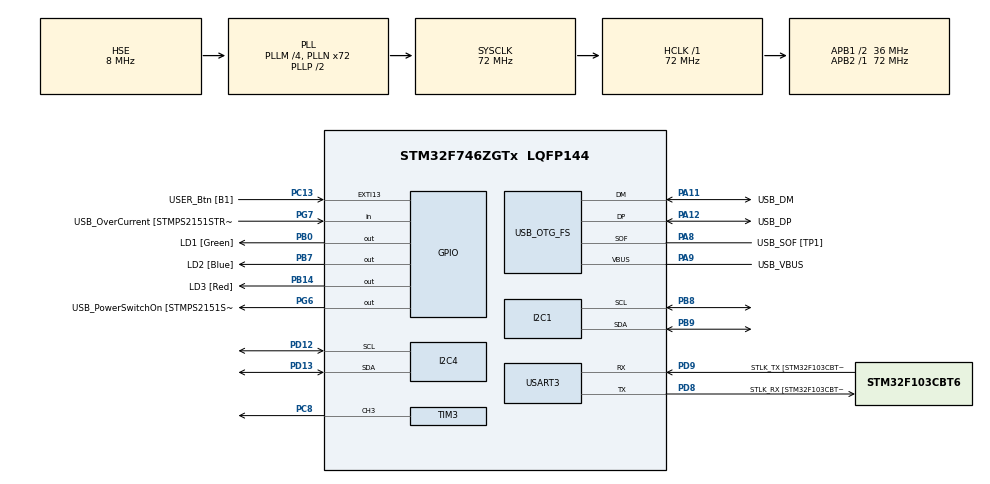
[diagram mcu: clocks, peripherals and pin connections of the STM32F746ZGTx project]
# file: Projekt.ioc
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I2C1.Timing=0x00808CD2
I2C4.Timing=0x00808CD2
Mcu.Family=STM32F7
Mcu.Name=STM32F746ZGTx
Mcu.Package=LQFP144
NVIC.PriorityGroup=NVIC_PRIORITYGROUP_4
PA1.GPIO_Label=RMII_REF_CLK [LAN8742A-CZ-TR_REFCLK0]
PA1.Signal=ETH_REF_CLK
PA10.GPIO_Label=USB_ID
PA10.Signal=USB_OTG_FS_ID
PA11.GPIO_Label=USB_DM
PA11.Mode=Device_Only
PA11.Signal=USB_OTG_FS_DM
PA12.GPIO_Label=USB_DP
PA12.Mode=Device_Only
PA12.Signal=USB_OTG_FS_DP
PA13.GPIO_Label=TMS
PA13.Mode=Serial_Wire
PA13.Signal=SYS_JTMS-SWDIO
PA14.GPIO_Label=TCK
PA14.Mode=Serial_Wire
PA14.Signal=SYS_JTCK-SWCLK
PA2.GPIO_Label=RMII_MDIO [LAN8742A-CZ-TR_MDIO]
PA2.Signal=ETH_MDIO
PA7.GPIO_Label=RMII_CRS_DV [LAN8742A-CZ-TR_CRS_DV]
PA7.Signal=ETH_CRS_DV
PA8.GPIO_Label=USB_SOF [TP1]
PA8.Mode=Activate_SOF_FS
PA8.Signal=USB_OTG_FS_SOF
PA9.GPIO_Label=USB_VBUS
PA9.Mode=Activate_VBUS
PA9.Signal=USB_OTG_FS_VBUS
PB0.GPIO_Label=LD1 [Green]
PB0.Signal=GPIO_Output
PB13.GPIO_Label=RMII_TXD1 [LAN8742A-CZ-TR_TXD1]
PB13.Signal=ETH_TXD1
PB14.GPIO_Label=LD3 [Red]
PB14.Signal=GPIO_Output
PB3.GPIO_Label=SW0
PB3.Signal=SYS_JTDO-SWO
PB7.GPIO_Label=LD2 [Blue]
PB7.Signal=GPIO_Output
PB8.Mode=I2C
PB8.Signal=I2C1_SCL
PB9.Mode=I2C
PB9.Signal=I2C1_SDA
PC1.GPIO_Label=RMII_MDC [LAN8742A-CZ-TR_MDC]
PC1.Signal=ETH_MDC
PC13.GPIO_Label=USER_Btn [B1]
PC13.Signal=GPXTI13
PC14/OSC32_IN.Mode=LSE-External-Oscillator
PC14/OSC32_IN.Signal=RCC_OSC32_IN
PC15/OSC32_OUT.Mode=LSE-External-Oscillator
PC15/OSC32_OUT.Signal=RCC_OSC32_OUT
PC4.GPIO_Label=RMII_RXD0 [LAN8742A-CZ-TR_RXD0]
PC4.Signal=ETH_RXD0
PC5.GPIO_Label=RMII_RXD1 [LAN8742A-CZ-TR_RXD1]
PC5.Signal=ETH_RXD1
PC8.Signal=S_TIM3_CH3
PD12.Mode=I2C
PD12.Signal=I2C4_SCL
PD13.Mode=I2C
PD13.Signal=I2C4_SDA
PD8.GPIO_Label=STLK_RX [STM32F103CBT6_PA3]
PD8.GPIO_PuPd=GPIO_PULLUP
PD8.Mode=Asynchronous
PD8.Signal=USART3_TX
PD9.GPIO_Label=STLK_TX [STM32F103CBT6_PA2]
PD9.GPIO_PuPd=GPIO_PULLUP
PD9.Mode=Asynchronous
PD9.Signal=USART3_RX
PG11.GPIO_Label=RMII_TX_EN [LAN8742A-CZ-TR_TXEN]
PG11.Signal=ETH_TX_EN
PG13.GPIO_Label=RMII_TXD0 [LAN8742A-CZ-TR_TXD0]
PG13.Signal=ETH_TXD0
PG6.GPIO_Label=USB_PowerSwitchOn [STMPS2151STR_EN]
PG6.Signal=GPIO_Output
PG7.GPIO_Label=USB_OverCurrent [STMPS2151STR_FAULT]
PG7.Signal=GPIO_Input
PH0/OSC_IN.GPIO_Label=MCO [STM32F103CBT6_PA8]
PH0/OSC_IN.Mode=HSE-External-Clock-Source
PH0/OSC_IN.Signal=RCC_OSC_IN
PH1/OSC_OUT.Mode=HSE-External-Clock-Source
PH1/OSC_OUT.Signal=RCC_OSC_OUT
ProjectManager.HeapSize=0x200
ProjectManager.StackSize=0x400
ProjectManager.TargetToolchain=STM32CubeIDE
RCC.48MHZClocksFreq_Value=24000000
RCC.AHBFreq_Value=72000000
RCC.APB1CLKDivider=RCC_HCLK_DIV2
RCC.APB1Freq_Value=36000000
RCC.APB1TimFreq_Value=72000000
RCC.APB2Freq_Value=72000000
RCC.APB2TimFreq_Value=72000000
RCC.CortexFreq_Value=72000000
RCC.HCLKFreq_Value=72000000
RCC.HSE_VALUE=8000000
RCC.HSI_VALUE=16000000
RCC.PLLM=4
RCC.PLLMUL=RCC_PLL_MUL9
RCC.PLLN=72
RCC.PLLQ=3
RCC.PRESCALERUSB=RCC_USBCLKSOURCE_PLL_DIV1_5
RCC.SYSCLKFreq_VALUE=72000000
RCC.SYSCLKSource=RCC_SYSCLKSOURCE_PLLCLK
RCC.SYSCLKSourceVirtual=RCC_SYSCLKSOURCE_PLLCLK
RCC.USBFreq_Value=48000000
RCC.VCOOutputFreq_Value=144000000
SH.S_TIM3_CH3.0=TIM3_CH3,PWM Generation3 CH3
TIM3.Channel-PWM\ Generation3\ CH3=TIM_CHANNEL_3
TIM3.Period=999
TIM3.Prescaler=71
USART3.VirtualMode-Asynchronous=VM_ASYNC
USB_OTG_FS.VirtualMode=Device_Only
VP_TIM3_VS_ClockSourceINT.Mode=Internal
board=NUCLEO-F746ZG

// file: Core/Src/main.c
/* USER CODE BEGIN Header */
/**
  ******************************************************************************
  * @file           : main.c
  * @brief          : Main program body
  ******************************************************************************
  * @attention
  *
  * Copyright (c) 2024 STMicroelectronics.
  * All rights reserved.
  *
  * This software is licensed under terms that can be found in the LICENSE file
  * in the root directory of this software component.
  * If no LICENSE file comes with this software, it is provided AS-IS.
  *
  ******************************************************************************
  */
/* USER CODE END Header */
#include "main.h"

/* USER CODE BEGIN Includes */
#include "BMPXX80.h"
#include "i2c-lcd.h"
#include <stdio.h>
#include <string.h>
/* USER CODE END Includes */

/* USER CODE BEGIN PTD */
typedef float float32_t;
typedef struct{
  	float32_t previous_error;
  	float32_t previous_integral;
  }pre_s;

/* USER CODE END PTD */

/* USER CODE BEGIN PM */
#define COUNTOF(__BUFFER__) (sizeof(__BUFFER__)/ sizeof(*(__BUFFER__)))

/* USER CODE END PM */

I2C_HandleTypeDef hi2c1;
I2C_HandleTypeDef hi2c4;

TIM_HandleTypeDef htim3;

UART_HandleTypeDef huart3;

PCD_HandleTypeDef hpcd_USB_OTG_FS;

/* USER CODE BEGIN PV */
float temperature, huminidity;
int32_t pressure;
float temperatura_docelowa=27.0;
float zmiana=1.5;

int i;

/* USER CODE END PV */

void SystemClock_Config(void);
static void MX_GPIO_Init(void);
static void MX_USART3_UART_Init(void);
static void MX_USB_OTG_FS_PCD_Init(void);
static void MX_I2C1_Init(void);
static void MX_I2C4_Init(void);
static void MX_TIM3_Init(void);
/* USER CODE BEGIN PFP */
//funkcja PID
float32_t PID(pre_s* pre, float32_t Kp, float32_t Ki,	float32_t Kd, float32_t dt, float setpoint, float measured){
  	float32_t u=0, P, I, D, error, integral, derivative;

  	error = setpoint-measured;

  	//proportional part
  	P = Kp * error;
  	//integral part
  	integral = pre->previous_integral + (error+pre->previous_error) ;
  	pre->previous_integral = integral;
  	I = Ki*integral*(dt/2.0);
 	//derivative part
  	derivative = (error -pre->previous_error)/dt;
  	pre->previous_error = error;
  	D = Kd*derivative;
  	u = P  + I + D;
  	if (u<0){
  		u=0;
  	}else if(u>999)
  	{
  		u=999;
  	}
  	return u;
  }
/* USER CODE END PFP */

int main(void)
{
  /* USER CODE BEGIN 1 */

	#define MAX_LENGTH 30
	char text[MAX_LENGTH];
  /* USER CODE END 1 */

  /* MCU Configuration--------------------------------------------------------*/

  /* Reset of all peripherals, Initializes the Flash interface and the Systick. */
  HAL_Init();

  /* Configure the system clock */
  SystemClock_Config();

  /* Initialize all configured peripherals */
  MX_GPIO_Init();
  MX_USART3_UART_Init();
  MX_USB_OTG_FS_PCD_Init();
  MX_I2C1_Init();
  MX_I2C4_Init();
  MX_TIM3_Init();
  /* USER CODE BEGIN 2 */
  BMP280_Init(&hi2c1, BMP280_TEMPERATURE_16BIT, BMP280_STANDARD, BMP280_FORCEDMODE);
  HAL_TIM_PWM_Start (&htim3, TIM_CHANNEL_3);
  lcd_init ();
    lcd_send_string ("Projekt PID");
    HAL_Delay(100);
    lcd_put_cur(1, 0);
    lcd_send_string("JR,MR 2024");
    HAL_Delay(2000);

  	// Inicjalizacja struktury przechowującej poprzednie stany
  	pre_s pre={.previous_error=0, .previous_integral=0};
  	pre.previous_error = 0.0f;
  	pre.previous_integral = 0.0f;
  	// Parametry regulatora PID
  	float32_t Kp = 48.0f; //człon proporcjonalny
  	float32_t Ki = 0.80f; //człon całkujący
  	float32_t Kd = 0.01f; //człon różniczkujący
     // Czas próbkowania
  	float32_t dt = 1;

  /* USER CODE END 2 */

  /* Infinite loop */
  while (1)
  {

    /* USER CODE BEGIN 3 */

	  //sterowanie zadaną temperaturą
	  uint8_t wprowadz[1];
	  HAL_StatusTypeDef status =HAL_UART_Receive(&huart3, wprowadz, 1, 1);
	  if (status== HAL_OK){
		  if(temperatura_docelowa>=30.0){
			  zmiana=zmiana*(-1);
		  }else if(temperatura_docelowa<=21.0){
			  zmiana=zmiana*(-1);
		  }
		  temperatura_docelowa=temperatura_docelowa+zmiana;
	  }

	  // niedziałająca funkcja doboru temperatury zadanej poprzez wpisanie wartości do terminala
//	  char wprowadz[6];
//	  HAL_StatusTypeDef status =HAL_UART_Receive(&huart3, (uint8_t *)wprowadz, 1, 1000);
//	  if (status== HAL_OK){
//  		  temperatura_docelowa=atof(wprowadz);
//	  			}
	  __HAL_UART_CLEAR_FLAG(&huart3, UART_CLEAR_OREF);
	  BMP280_ReadTemperatureAndPressure(&temperature, &pressure);
	  sprintf((char*)text, "%.2f, ", temperature);
	  HAL_UART_Transmit(&huart3, (uint8_t*)text, strlen(text), 1000); // wypisanie obecnej temperatury do terminala
	  HAL_Delay(200);

	  lcd_clear ();
	  lcd_put_cur(0, 0);
	  sprintf((char*)text, "Temp.  %.2f  C", temperature);
	  lcd_send_string(text);
	  lcd_put_cur(1, 0);
	  sprintf((char*)text, "T_zad. %.2f  C", temperatura_docelowa);
	  lcd_send_string(text);
	  HAL_Delay(500);

  	  __HAL_TIM_SET_COMPARE(&htim3, TIM_CHANNEL_3, PID(&pre,Kp,Ki,Kd,dt,temperatura_docelowa,temperature)); //nadanie wartości PWM
  }
  /* USER CODE END 3 */
}

void SystemClock_Config(void)
{
  RCC_OscInitTypeDef RCC_OscInitStruct = {0};
  RCC_ClkInitTypeDef RCC_ClkInitStruct = {0};

  /** Configure LSE Drive Capability
  */
  HAL_PWR_EnableBkUpAccess();

  /** Configure the main internal regulator output voltage
  */
  __HAL_RCC_PWR_CLK_ENABLE();
  __HAL_PWR_VOLTAGESCALING_CONFIG(PWR_REGULATOR_VOLTAGE_SCALE3);

  /** Initializes the RCC Oscillators according to the specified parameters
  * in the RCC_OscInitTypeDef structure.
  */
  RCC_OscInitStruct.OscillatorType = RCC_OSCILLATORTYPE_HSE;
  RCC_OscInitStruct.HSEState = RCC_HSE_BYPASS;
  RCC_OscInitStruct.PLL.PLLState = RCC_PLL_ON;
  RCC_OscInitStruct.PLL.PLLSource = RCC_PLLSOURCE_HSE;
  RCC_OscInitStruct.PLL.PLLM = 4;
  RCC_OscInitStruct.PLL.PLLN = 72;
  RCC_OscInitStruct.PLL.PLLP = RCC_PLLP_DIV2;
  RCC_OscInitStruct.PLL.PLLQ = 3;
  if (HAL_RCC_OscConfig(&RCC_OscInitStruct) != HAL_OK)
  {
    Error_Handler();
  }

  /** Initializes the CPU, AHB and APB buses clocks
  */
  RCC_ClkInitStruct.ClockType = RCC_CLOCKTYPE_HCLK|RCC_CLOCKTYPE_SYSCLK
                              |RCC_CLOCKTYPE_PCLK1|RCC_CLOCKTYPE_PCLK2;
  RCC_ClkInitStruct.SYSCLKSource = RCC_SYSCLKSOURCE_PLLCLK;
  RCC_ClkInitStruct.AHBCLKDivider = RCC_SYSCLK_DIV1;
  RCC_ClkInitStruct.APB1CLKDivider = RCC_HCLK_DIV2;
  RCC_ClkInitStruct.APB2CLKDivider = RCC_HCLK_DIV1;

  if (HAL_RCC_ClockConfig(&RCC_ClkInitStruct, FLASH_LATENCY_2) != HAL_OK)
  {
    Error_Handler();
  }
}

static void MX_I2C1_Init(void)
{

  hi2c1.Instance = I2C1;
  hi2c1.Init.Timing = 0x00808CD2;
  hi2c1.Init.OwnAddress1 = 0;
  hi2c1.Init.AddressingMode = I2C_ADDRESSINGMODE_7BIT;
  hi2c1.Init.DualAddressMode = I2C_DUALADDRESS_DISABLE;
  hi2c1.Init.OwnAddress2 = 0;
  hi2c1.Init.OwnAddress2Masks = I2C_OA2_NOMASK;
  hi2c1.Init.GeneralCallMode = I2C_GENERALCALL_DISABLE;
  hi2c1.Init.NoStretchMode = I2C_NOSTRETCH_DISABLE;
  if (HAL_I2C_Init(&hi2c1) != HAL_OK)
  {
    Error_Handler();
  }

  /** Configure Analogue filter
  */
  if (HAL_I2CEx_ConfigAnalogFilter(&hi2c1, I2C_ANALOGFILTER_ENABLE) != HAL_OK)
  {
    Error_Handler();
  }

  /** Configure Digital filter
  */
  if (HAL_I2CEx_ConfigDigitalFilter(&hi2c1, 0) != HAL_OK)
  {
    Error_Handler();
  }

}

static void MX_I2C4_Init(void)
{

  hi2c4.Instance = I2C4;
  hi2c4.Init.Timing = 0x00808CD2;
  hi2c4.Init.OwnAddress1 = 0;
  hi2c4.Init.AddressingMode = I2C_ADDRESSINGMODE_7BIT;
  hi2c4.Init.DualAddressMode = I2C_DUALADDRESS_DISABLE;
  hi2c4.Init.OwnAddress2 = 0;
  hi2c4.Init.OwnAddress2Masks = I2C_OA2_NOMASK;
  hi2c4.Init.GeneralCallMode = I2C_GENERALCALL_DISABLE;
  hi2c4.Init.NoStretchMode = I2C_NOSTRETCH_DISABLE;
  if (HAL_I2C_Init(&hi2c4) != HAL_OK)
  {
    Error_Handler();
  }

  /** Configure Analogue filter
  */
  if (HAL_I2CEx_ConfigAnalogFilter(&hi2c4, I2C_ANALOGFILTER_ENABLE) != HAL_OK)
  {
    Error_Handler();
  }

  /** Configure Digital filter
  */
  if (HAL_I2CEx_ConfigDigitalFilter(&hi2c4, 0) != HAL_OK)
  {
    Error_Handler();
  }

}

static void MX_TIM3_Init(void)
{

  TIM_ClockConfigTypeDef sClockSourceConfig = {0};
  TIM_MasterConfigTypeDef sMasterConfig = {0};
  TIM_OC_InitTypeDef sConfigOC = {0};

  htim3.Instance = TIM3;
  htim3.Init.Prescaler = 71;
  htim3.Init.CounterMode = TIM_COUNTERMODE_UP;
  htim3.Init.Period = 999;
  htim3.Init.ClockDivision = TIM_CLOCKDIVISION_DIV1;
  htim3.Init.AutoReloadPreload = TIM_AUTORELOAD_PRELOAD_DISABLE;
  if (HAL_TIM_Base_Init(&htim3) != HAL_OK)
  {
    Error_Handler();
  }
  sClockSourceConfig.ClockSource = TIM_CLOCKSOURCE_INTERNAL;
  if (HAL_TIM_ConfigClockSource(&htim3, &sClockSourceConfig) != HAL_OK)
  {
    Error_Handler();
  }
  if (HAL_TIM_PWM_Init(&htim3) != HAL_OK)
  {
    Error_Handler();
  }
  sMasterConfig.MasterOutputTrigger = TIM_TRGO_RESET;
  sMasterConfig.MasterSlaveMode = TIM_MASTERSLAVEMODE_DISABLE;
  if (HAL_TIMEx_MasterConfigSynchronization(&htim3, &sMasterConfig) != HAL_OK)
  {
    Error_Handler();
  }
  sConfigOC.OCMode = TIM_OCMODE_PWM1;
  sConfigOC.Pulse = 0;
  sConfigOC.OCPolarity = TIM_OCPOLARITY_HIGH;
  sConfigOC.OCFastMode = TIM_OCFAST_DISABLE;
  if (HAL_TIM_PWM_ConfigChannel(&htim3, &sConfigOC, TIM_CHANNEL_3) != HAL_OK)
  {
    Error_Handler();
  }
  HAL_TIM_MspPostInit(&htim3);

}

static void MX_USART3_UART_Init(void)
{

  huart3.Instance = USART3;
  huart3.Init.BaudRate = 115200;
  huart3.Init.WordLength = UART_WORDLENGTH_8B;
  huart3.Init.StopBits = UART_STOPBITS_1;
  huart3.Init.Parity = UART_PARITY_NONE;
  huart3.Init.Mode = UART_MODE_TX_RX;
  huart3.Init.HwFlowCtl = UART_HWCONTROL_NONE;
  huart3.Init.OverSampling = UART_OVERSAMPLING_16;
  huart3.Init.OneBitSampling = UART_ONE_BIT_SAMPLE_DISABLE;
  huart3.AdvancedInit.AdvFeatureInit = UART_ADVFEATURE_NO_INIT;
  if (HAL_UART_Init(&huart3) != HAL_OK)
  {
    Error_Handler();
  }

}

static void MX_USB_OTG_FS_PCD_Init(void)
{

  hpcd_USB_OTG_FS.Instance = USB_OTG_FS;
  hpcd_USB_OTG_FS.Init.dev_endpoints = 6;
  hpcd_USB_OTG_FS.Init.speed = PCD_SPEED_FULL;
  hpcd_USB_OTG_FS.Init.dma_enable = DISABLE;
  hpcd_USB_OTG_FS.Init.phy_itface = PCD_PHY_EMBEDDED;
  hpcd_USB_OTG_FS.Init.Sof_enable = ENABLE;
  hpcd_USB_OTG_FS.Init.low_power_enable = DISABLE;
  hpcd_USB_OTG_FS.Init.lpm_enable = DISABLE;
  hpcd_USB_OTG_FS.Init.vbus_sensing_enable = ENABLE;
  hpcd_USB_OTG_FS.Init.use_dedicated_ep1 = DISABLE;
  if (HAL_PCD_Init(&hpcd_USB_OTG_FS) != HAL_OK)
  {
    Error_Handler();
  }

}

static void MX_GPIO_Init(void)
{
  GPIO_InitTypeDef GPIO_InitStruct = {0};

  /* GPIO Ports Clock Enable */
  __HAL_RCC_GPIOC_CLK_ENABLE();
  __HAL_RCC_GPIOH_CLK_ENABLE();
  __HAL_RCC_GPIOA_CLK_ENABLE();
  __HAL_RCC_GPIOB_CLK_ENABLE();
  __HAL_RCC_GPIOD_CLK_ENABLE();
  __HAL_RCC_GPIOG_CLK_ENABLE();

  /*Configure GPIO pin Output Level */
  HAL_GPIO_WritePin(GPIOB, LD1_Pin|LD3_Pin|LD2_Pin, GPIO_PIN_RESET);

  /*Configure GPIO pin Output Level */
  HAL_GPIO_WritePin(USB_PowerSwitchOn_GPIO_Port, USB_PowerSwitchOn_Pin, GPIO_PIN_RESET);

  /*Configure GPIO pin : USER_Btn_Pin */
  GPIO_InitStruct.Pin = USER_Btn_Pin;
  GPIO_InitStruct.Mode = GPIO_MODE_IT_RISING;
  GPIO_InitStruct.Pull = GPIO_NOPULL;
  HAL_GPIO_Init(USER_Btn_GPIO_Port, &GPIO_InitStruct);

  /*Configure GPIO pins : RMII_MDC_Pin RMII_RXD0_Pin RMII_RXD1_Pin */
  GPIO_InitStruct.Pin = RMII_MDC_Pin|RMII_RXD0_Pin|RMII_RXD1_Pin;
  GPIO_InitStruct.Mode = GPIO_MODE_AF_PP;
  GPIO_InitStruct.Pull = GPIO_NOPULL;
  GPIO_InitStruct.Speed = GPIO_SPEED_FREQ_VERY_HIGH;
  GPIO_InitStruct.Alternate = GPIO_AF11_ETH;
  HAL_GPIO_Init(GPIOC, &GPIO_InitStruct);

  /*Configure GPIO pins : RMII_REF_CLK_Pin RMII_MDIO_Pin RMII_CRS_DV_Pin */
  GPIO_InitStruct.Pin = RMII_REF_CLK_Pin|RMII_MDIO_Pin|RMII_CRS_DV_Pin;
  GPIO_InitStruct.Mode = GPIO_MODE_AF_PP;
  GPIO_InitStruct.Pull = GPIO_NOPULL;
  GPIO_InitStruct.Speed = GPIO_SPEED_FREQ_VERY_HIGH;
  GPIO_InitStruct.Alternate = GPIO_AF11_ETH;
  HAL_GPIO_Init(GPIOA, &GPIO_InitStruct);

  /*Configure GPIO pins : LD1_Pin LD3_Pin LD2_Pin */
  GPIO_InitStruct.Pin = LD1_Pin|LD3_Pin|LD2_Pin;
  GPIO_InitStruct.Mode = GPIO_MODE_OUTPUT_PP;
  GPIO_InitStruct.Pull = GPIO_NOPULL;
  GPIO_InitStruct.Speed = GPIO_SPEED_FREQ_LOW;
  HAL_GPIO_Init(GPIOB, &GPIO_InitStruct);

  /*Configure GPIO pin : RMII_TXD1_Pin */
  GPIO_InitStruct.Pin = RMII_TXD1_Pin;
  GPIO_InitStruct.Mode = GPIO_MODE_AF_PP;
  GPIO_InitStruct.Pull = GPIO_NOPULL;
  GPIO_InitStruct.Speed = GPIO_SPEED_FREQ_VERY_HIGH;
  GPIO_InitStruct.Alternate = GPIO_AF11_ETH;
  HAL_GPIO_Init(RMII_TXD1_GPIO_Port, &GPIO_InitStruct);

  /*Configure GPIO pin : USB_PowerSwitchOn_Pin */
  GPIO_InitStruct.Pin = USB_PowerSwitchOn_Pin;
  GPIO_InitStruct.Mode = GPIO_MODE_OUTPUT_PP;
  GPIO_InitStruct.Pull = GPIO_NOPULL;
  GPIO_InitStruct.Speed = GPIO_SPEED_FREQ_LOW;
  HAL_GPIO_Init(USB_PowerSwitchOn_GPIO_Port, &GPIO_InitStruct);

  /*Configure GPIO pin : USB_OverCurrent_Pin */
  GPIO_InitStruct.Pin = USB_OverCurrent_Pin;
  GPIO_InitStruct.Mode = GPIO_MODE_INPUT;
  GPIO_InitStruct.Pull = GPIO_NOPULL;
  HAL_GPIO_Init(USB_OverCurrent_GPIO_Port, &GPIO_InitStruct);

  /*Configure GPIO pins : RMII_TX_EN_Pin RMII_TXD0_Pin */
  GPIO_InitStruct.Pin = RMII_TX_EN_Pin|RMII_TXD0_Pin;
  GPIO_InitStruct.Mode = GPIO_MODE_AF_PP;
  GPIO_InitStruct.Pull = GPIO_NOPULL;
  GPIO_InitStruct.Speed = GPIO_SPEED_FREQ_VERY_HIGH;
  GPIO_InitStruct.Alternate = GPIO_AF11_ETH;
  HAL_GPIO_Init(GPIOG, &GPIO_InitStruct);

}

void Error_Handler(void)
{
  __disable_irq();
  while (1)
  {
  }
}
